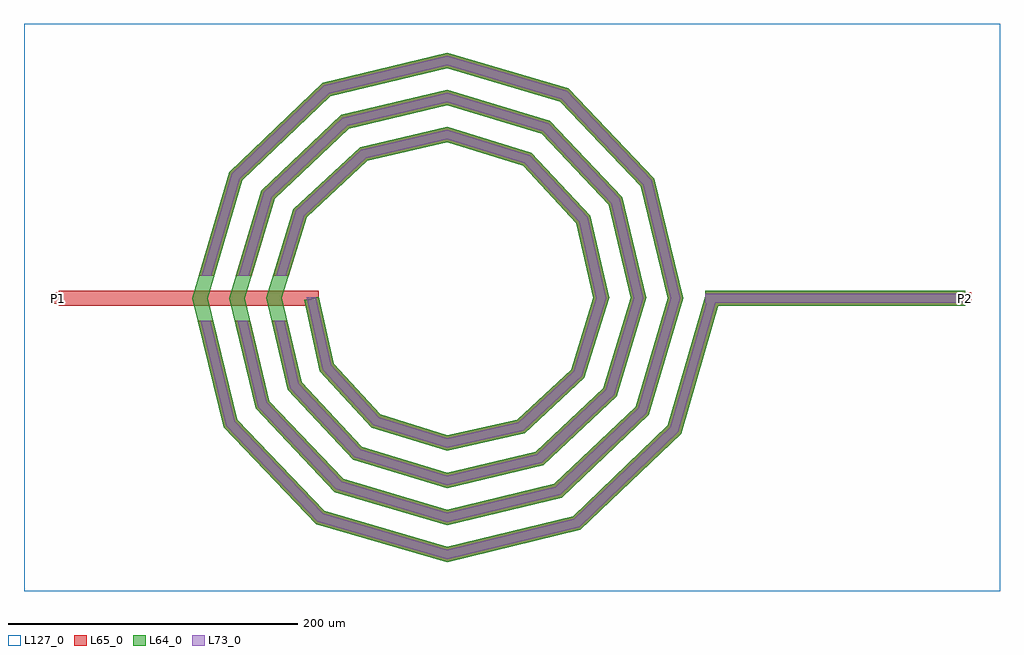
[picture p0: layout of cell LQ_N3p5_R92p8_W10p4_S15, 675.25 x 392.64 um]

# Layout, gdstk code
import gdstk
lib = gdstk.Library(unit=1e-6, precision=1e-09)
def R(c, l, rs):  # rectangles x0, y0, x1, y1
    for r in rs: c.add(gdstk.rectangle(r[:2], r[2:], *l))
def P(c, l, *ps):  # polygons
    for p in ps: c.add(gdstk.Polygon(p, *l))
L64_0 = (64, 0)
L65_0 = (65, 0)
L73_0 = (73, 0)
L127_0 = (127, 0)

lq_n3p5_r92p8_w10p4_s15 = lib.new_cell('LQ_N3p5_R92p8_W10p4_S15')
R(lq_n3p5_r92p8_w10p4_s15, L64_0, [(178.584,-5.2,358.584,5.2)])
P(lq_n3p5_r92p8_w10p4_s15, L64_0, [(-78.372,-45.507),(-46.194,-80.448),(0.214,-94.908),(48.706,-83.941),(86.003,-49.417),(101.33,0.201),(89.51,51.906),(52.638,91.559),(0.19,107.752),(-55.108,95.077),(-97.116,55.858),(-114.175,0.18),(-100.644,-58.311),(-59.078,-102.673),(0.171,-120.597),(61.515,-106.211),(108.231,-62.297),(127.02,0.162),(111.777,64.719),(65.515,113.789),(0.155,133.443),(-67.924,117.343),(-119.348,68.732),(-139.866,0.148),(-122.908,-71.13),(-71.949,-124.907),(0.142,-146.288),(74.336,-128.473),(130.466,-75.166),(152.711,0.136),(134.038,77.542),(78.382,136.026),(0.131,159.134),(-80.749,139.603),(-141.586,81.597),(-165.556,0.126),(-145.168,-83.956),(-84.813,-147.146),(0.121,-171.979),(87.164,-150.732),(152.706,-88.028),(178.792,1.455),(188.776,-1.455),(161.91,-93.615),(92.339,-160.175),(0.121,-182.744),(-90.408,-156.345),(-154.614,-89.123),(-176.321,0.126),(-150.78,87.2),(-85.908,149.054),(0.131,169.898),(83.993,145.215),(143.495,82.692),(163.475,0.136),(139.65,-80.786),(79.475,-137.935),(0.142,-157.052),(-77.58,-134.085),(-132.375,-76.259),(-150.629,0.148),(-128.519,74.374),(-73.041,126.816),(0.155,144.206),(71.169,122.953),(121.258,69.824),(137.783,0.162),(117.387,-67.964),(66.605,-115.699),(0.171,-131.36),(-64.76,-111.82),(-110.141,-63.386),(-124.937,0.18),(-106.253,61.556),(-60.166,104.583),(0.19,118.514),(58.354,100.685),(99.026,56.945),(112.09,0.201),(95.116,-55.153),(53.722,-93.47),(0.214,-105.667),(-51.953,-89.547),(-87.914,-50.499),(-98.939,-1.133),(-88.79,1.133)])
R(lq_n3p5_r92p8_w10p4_s15, L65_0, [(-268.665,-5.2,-88.665,5.2), (178.584,-5.2,358.584,5.2), (-272.665,-4,-264.665,4), (354.584,-4,362.584,4)])
P(lq_n3p5_r92p8_w10p4_s15, L65_0, [(-145.168,-83.956),(-84.813,-147.146),(0.121,-171.979),(87.164,-150.732),(152.706,-88.028),(178.792,1.455),(188.776,-1.455),(161.91,-93.615),(92.339,-160.175),(0.121,-182.744),(-90.408,-156.345),(-154.615,-89.123),(-172.496,-15.6),(-161.793,-15.6)],
  [(-122.908,-71.13),(-71.949,-124.907),(0.142,-146.288),(74.336,-128.473),(130.466,-75.166),(152.711,0.136),(134.039,77.542),(78.382,136.026),(0.131,159.134),(-80.749,139.603),(-141.586,81.597),(-160.944,15.6),(-171.782,15.6),(-150.78,87.2),(-85.908,149.054),(0.131,169.898),(83.993,145.215),(143.495,82.692),(163.475,0.136),(139.65,-80.786),(79.475,-137.935),(0.142,-157.052),(-77.58,-134.085),(-132.376,-76.259),(-146.867,-15.6),(-136.174,-15.6)],
  [(-100.644,-58.311),(-59.078,-102.673),(0.171,-120.598),(61.515,-106.211),(108.231,-62.297),(127.02,0.162),(111.777,64.719),(65.515,113.789),(0.155,133.443),(-67.924,117.343),(-119.348,68.732),(-135.175,15.6),(-146.026,15.6),(-128.519,74.374),(-73.041,126.816),(0.155,144.206),(71.169,122.953),(121.258,69.824),(137.783,0.162),(117.387,-67.964),(66.605,-115.699),(0.171,-131.36),(-64.76,-111.82),(-110.141,-63.386),(-121.264,-15.6),(-110.586,-15.6)],
  [(-46.194,-80.448),(0.214,-94.908),(48.706,-83.941),(86.003,-49.417),(101.33,0.201),(89.51,51.906),(52.638,91.559),(0.19,107.752),(-55.108,95.077),(-97.116,55.859),(-109.371,15.6),(-120.243,15.6),(-106.253,61.556),(-60.166,104.583),(0.19,118.514),(58.354,100.685),(99.026,56.945),(112.09,0.201),(95.116,-55.153),(53.722,-93.47),(0.214,-105.667),(-51.953,-89.547),(-87.914,-50.499),(-98.939,-1.134),(-88.79,1.134),(-78.372,-45.507)])
R(lq_n3p5_r92p8_w10p4_s15, L73_0, [(178.584,-3.2,358.584,3.2)])
P(lq_n3p5_r92p8_w10p4_s15, L73_0, [(-146.985,-84.95),(-85.889,-148.915),(0.075,-174.049),(88.159,-152.548),(154.476,-89.102),(180.712,0.896),(186.856,0.896),(160.14,-92.541),(91.343,-158.359),(0.075,-180.674),(-89.332,-154.576),(-152.798,-88.13),(-170.438,-15.6),(-163.851,-15.6)],
  [(-124.729,-72.116),(-73.032,-126.672),(0.087,-148.358),(75.324,-130.293),(132.233,-76.247),(154.781,0.084),(135.857,78.532),(79.461,137.793),(0.08,161.204),(-81.741,141.421),(-143.354,82.675),(-163.028,15.6),(-169.698,15.6),(-149.012,86.123),(-84.916,147.237),(0.08,167.828),(82.914,143.448),(141.676,81.701),(161.405,0.084),(137.884,-79.705),(78.487,-136.115),(0.087,-154.982),(-76.497,-132.32),(-130.555,-75.272),(-144.81,-15.6),(-138.23,-15.6)],
  [(-102.47,-59.287),(-60.171,-104.432),(0.105,-122.667),(62.494,-108.035),(109.992,-63.387),(129.09,0.1),(113.6,65.701),(66.602,115.552),(0.095,135.513),(-68.908,119.165),(-121.112,69.817),(-137.261,15.6),(-143.939,15.6),(-126.756,73.289),(-72.057,124.995),(0.095,142.136),(70.081,121.191),(119.434,68.842),(135.713,0.1),(115.626,-66.874),(65.626,-113.874),(0.105,-129.29),(-63.667,-110.061),(-108.315,-62.41),(-119.21,-15.6),(-112.639,-15.6)],
  [(-47.301,-82.198),(0.132,-96.977),(49.671,-85.774),(87.756,-50.52),(103.399,0.124),(91.34,52.875),(53.737,93.314),(0.117,109.822),(-56.081,96.905),(-98.873,56.954),(-111.462,15.6),(-118.152,15.6),(-104.496,60.461),(-59.193,102.755),(0.117,116.444),(57.255,98.93),(97.196,55.976),(110.021,0.124),(93.364,-54.05),(52.758,-91.637),(0.132,-103.598),(-50.845,-87.797),(-86.079,-49.539),(-96.988,0.698),(-90.741,0.698),(-80.207,-46.467)])
R(lq_n3p5_r92p8_w10p4_s15, L127_0, [(-292.665,-202.744,382.584,189.898)])
lq_n3p5_r92p8_w10p4_s15.add(gdstk.Label('P2', (358.584,0), layer=65, texttype=0))
lq_n3p5_r92p8_w10p4_s15.add(gdstk.Label('P1', (-268.665,0), layer=65, texttype=0))
lq_n3p5_r92p8_w10p4_s15.add(gdstk.Label('P2', (362.584,0), layer=145, texttype=0))
lq_n3p5_r92p8_w10p4_s15.add(gdstk.Label('P1', (-272.665,0), layer=145, texttype=0))

lib.write_gds('LQ_N3p5_R92p8_W10p4_S15.gds')
